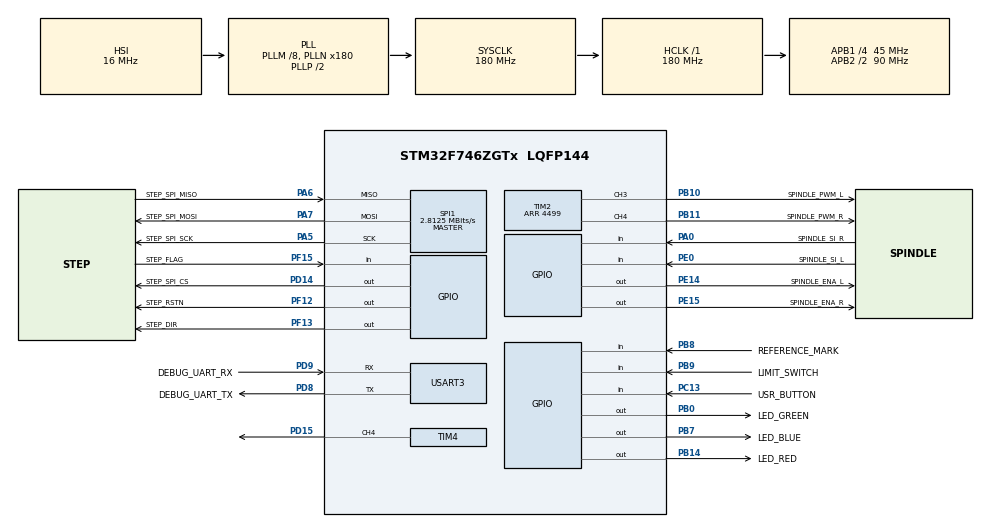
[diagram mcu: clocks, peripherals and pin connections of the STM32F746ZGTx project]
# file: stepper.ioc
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CORTEX_M7.AccessPermission_Spec=MPU_REGION_PRIV_RO_URO
CORTEX_M7.BaseAddress_S-Cortex_Memory_Protection_Unit_Region1_Settings_S=0x60000000
CORTEX_M7.DisableExec_S-Cortex_Memory_Protection_Unit_Region1_Settings_S=MPU_INSTRUCTION_ACCESS_DISABLE
CORTEX_M7.DisableExec_Spec=MPU_INSTRUCTION_ACCESS_ENABLE
CORTEX_M7.Enable_S-Cortex_Memory_Protection_Unit_Region1_Settings_S=MPU_REGION_ENABLE
CORTEX_M7.Enable_S-Cortex_Memory_Protection_Unit_Region2_Settings_S=__NULL
CORTEX_M7.IsShareable_S-Cortex_Memory_Protection_Unit_Region1_Settings_S=MPU_ACCESS_SHAREABLE
CORTEX_M7.IsShareable_Spec=MPU_ACCESS_NOT_SHAREABLE
CORTEX_M7.Size_S-Cortex_Memory_Protection_Unit_Region1_Settings_S=MPU_REGION_SIZE_4GB
CORTEX_M7.Size_Spec=MPU_REGION_SIZE_16KB
CORTEX_M7.SubRegionDisable_S-Cortex_Memory_Protection_Unit_Region1_Settings_S=0x87
CORTEX_M7.SubRegionDisable_Spec=0x0
CORTEX_M7.default_mode_Activation=1
Mcu.Family=STM32F7
Mcu.Name=STM32F746ZGTx
Mcu.Package=LQFP144
NVIC.PriorityGroup=NVIC_PRIORITYGROUP_4
NVIC.SPI1_IRQn=true\:5\:0\:true\:false\:true\:true\:true\:true
NVIC.TIM1_CC_IRQn=true\:0\:0\:false\:false\:true\:true\:true\:true
NVIC.TIM1_UP_TIM10_IRQn=true\:0\:0\:false\:false\:true\:true\:true\:true
PA0/WKUP.GPIO_Label=SPINDLE_SI_R
PA0/WKUP.Signal=GPIO_Input
PA5.GPIO_Label=STEP_SPI_SCK
PA5.Mode=Full_Duplex_Master
PA5.Signal=SPI1_SCK
PA6.GPIO_Label=STEP_SPI_MISO
PA6.Mode=Full_Duplex_Master
PA6.Signal=SPI1_MISO
PA7.GPIO_Label=STEP_SPI_MOSI
PA7.Mode=Full_Duplex_Master
PA7.Signal=SPI1_MOSI
PB0.GPIO_Label=LED_GREEN
PB0.Signal=GPIO_Output
PB10.GPIO_Label=SPINDLE_PWM_L
PB10.Signal=S_TIM2_CH3
PB11.GPIO_Label=SPINDLE_PWM_R
PB11.Signal=S_TIM2_CH4
PB14.GPIO_Label=LED_RED
PB14.Signal=GPIO_Output
PB7.GPIO_Label=LED_BLUE
PB7.Signal=GPIO_Output
PB8.GPIO_Label=REFERENCE_MARK
PB8.Signal=GPIO_Input
PB9.GPIO_Label=LIMIT_SWITCH
PB9.Signal=GPIO_Input
PC13.GPIO_Label=USR_BUTTON
PC13.Signal=GPIO_Input
PD14.GPIO_Label=STEP_SPI_CS
PD14.GPIO_Speed=GPIO_SPEED_FREQ_VERY_HIGH
PD14.PinState=GPIO_PIN_SET
PD14.Signal=GPIO_Output
PD15.Signal=S_TIM4_CH4
PD8.GPIO_Label=DEBUG_UART_TX
PD8.Mode=Asynchronous
PD8.Signal=USART3_TX
PD9.GPIO_Label=DEBUG_UART_RX
PD9.Mode=Asynchronous
PD9.Signal=USART3_RX
PE0.GPIO_Label=SPINDLE_SI_L
PE0.Signal=GPIO_Input
PE14.GPIO_Label=SPINDLE_ENA_L
PE14.Signal=GPIO_Output
PE15.GPIO_Label=SPINDLE_ENA_R
PE15.Signal=GPIO_Output
PF12.GPIO_Label=STEP_RSTN
PF12.Signal=GPIO_Output
PF13.GPIO_Label=STEP_DIR
PF13.GPIO_Speed=GPIO_SPEED_FREQ_VERY_HIGH
PF13.Signal=GPIO_Output
PF15.GPIO_Label=STEP_FLAG
PF15.GPIO_PuPd=GPIO_PULLUP
PF15.Signal=GPIO_Input
PH0/OSC_IN.Mode=HSE-External-Oscillator
PH0/OSC_IN.Signal=RCC_OSC_IN
PH1/OSC_OUT.Mode=HSE-External-Oscillator
PH1/OSC_OUT.Signal=RCC_OSC_OUT
ProjectManager.HeapSize=0x2000
ProjectManager.StackSize=0x800
ProjectManager.TargetToolchain=STM32CubeIDE
RCC.AHBFreq_Value=180000000
RCC.APB1CLKDivider=RCC_HCLK_DIV4
RCC.APB1Freq_Value=45000000
RCC.APB1TimFreq_Value=90000000
RCC.APB2CLKDivider=RCC_HCLK_DIV2
RCC.APB2Freq_Value=90000000
RCC.APB2TimFreq_Value=180000000
RCC.CortexFreq_Value=180000000
RCC.HCLKFreq_Value=180000000
RCC.HSE_VALUE=25000000
RCC.HSI_VALUE=16000000
RCC.LSE_VALUE=32768
RCC.PLLM=8
RCC.PLLN=180
RCC.SYSCLKFreq_VALUE=180000000
RCC.SYSCLKSource=RCC_SYSCLKSOURCE_PLLCLK
RCC.USBFreq_Value=180000000
RCC.VCOOutputFreq_Value=360000000
SH.S_TIM2_CH3.0=TIM2_CH3,PWM Generation3 CH3
SH.S_TIM2_CH4.0=TIM2_CH4,PWM Generation4 CH4
SH.S_TIM4_CH4.0=TIM4_CH4,PWM Generation4 CH4
SPI1.BaudRatePrescaler=SPI_BAUDRATEPRESCALER_32
SPI1.CLKPhase=SPI_PHASE_2EDGE
SPI1.CLKPolarity=SPI_POLARITY_HIGH
SPI1.CalculateBaudRate=2.8125 MBits/s
SPI1.DataSize=SPI_DATASIZE_8BIT
SPI1.Direction=SPI_DIRECTION_2LINES
SPI1.Mode=SPI_MODE_MASTER
SPI1.VirtualType=VM_MASTER
TIM1.Channel-Output\ Compare1\ No\ Output=TIM_CHANNEL_1
TIM1.Period=65535
TIM1.Prescaler=0
TIM1.TIM_MasterOutputTrigger=TIM_TRGO_ENABLE
TIM1.TIM_MasterOutputTrigger2=TIM_TRGO2_ENABLE
TIM2.Channel-PWM\ Generation3\ CH3=TIM_CHANNEL_3
TIM2.Channel-PWM\ Generation4\ CH4=TIM_CHANNEL_4
TIM2.Period=4499
TIM4.AutoReloadPreload=TIM_AUTORELOAD_PRELOAD_ENABLE
TIM4.Channel-PWM\ Generation4\ CH4=TIM_CHANNEL_4
TIM4.Period=3115
TIM4.Prescaler=1
TIM4.TIM_MasterOutputTrigger=TIM_TRGO_UPDATE
USART3.VirtualMode-Asynchronous=VM_ASYNC
VP_TIM1_VS_ClockSourceITR.Mode=TriggerSource_ITR3
VP_TIM1_VS_ControllerModeClock.Mode=Clock Mode
VP_TIM1_VS_OPM.Mode=OPM_bit
VP_TIM1_VS_no_output1.Mode=Output Compare1 No Output
VP_TIM2_VS_ClockSourceINT.Mode=Internal
VP_TIM4_VS_ClockSourceINT.Mode=Internal
VP_TIM4_VS_ClockSourceITR.Mode=TriggerSource_ITR0
VP_TIM4_VS_ControllerModeGated.Mode=Gated Mode
board=custom

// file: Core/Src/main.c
/* USER CODE BEGIN Header */
/**
  ******************************************************************************
  * @file           : main.c
  * @brief          : Main program body
  ******************************************************************************
  * @attention
  *
  * Copyright (c) 2024 STMicroelectronics.
  * All rights reserved.
  *
  * This software is licensed under terms that can be found in the LICENSE file
  * in the root directory of this software component.
  * If no LICENSE file comes with this software, it is provided AS-IS.
  *
  ******************************************************************************
  */
/* USER CODE END Header */
#include "main.h"

/* USER CODE BEGIN Includes */
#include "FreeRTOS.h"
#include "task.h"
#include "stdio.h"
/* USER CODE END Includes */

SPI_HandleTypeDef hspi1;

TIM_HandleTypeDef htim1;
TIM_HandleTypeDef htim2;
TIM_HandleTypeDef htim4;

UART_HandleTypeDef huart3;

void SystemClock_Config(void);
static void MPU_Config(void);
static void MX_GPIO_Init(void);
static void MX_SPI1_Init(void);
static void MX_USART3_UART_Init(void);
static void MX_TIM2_Init(void);
static void MX_TIM4_Init(void);
static void MX_TIM1_Init(void);
/* USER CODE BEGIN PFP */
extern void initialise_stdlib_abstraction( void );

void vApplicationMallocFailedHook( void )
{
  taskDISABLE_INTERRUPTS();
  __asm volatile( "bkpt #0" );
  for (;;) {;}
}
/*-----------------------------------------------------------*/

void vApplicationStackOverflowHook( TaskHandle_t pxTask, char *pcTaskName )
{
  ( void ) pcTaskName;
  ( void ) pxTask;

  taskDISABLE_INTERRUPTS();
  __asm volatile( "bkpt #0" );
  for (;;) {;}
}

/* USER CODE END PFP */

/* USER CODE BEGIN 0 */
// --------------------------------------------------------------------------------------------------------------------

//static int ConsoleWriteStream_ToStdErr(void* pContext, const char* pBuffer, int num)
//{
//	(void)pContext;
//	extern int _write( int file, char* ptr, int len );
//	return _write(2, pBuffer, num);
//}
/* USER CODE END 0 */

int main(void)
{

  /* MPU Configuration--------------------------------------------------------*/
  MPU_Config();

  /* MCU Configuration--------------------------------------------------------*/

  /* Reset of all peripherals, Initializes the Flash interface and the Systick. */
  HAL_Init();

  /* Configure the system clock */
  SystemClock_Config();

  /* Initialize all configured peripherals */
  MX_GPIO_Init();
  MX_SPI1_Init();
  MX_USART3_UART_Init();
  MX_TIM2_Init();
  MX_TIM4_Init();
  MX_TIM1_Init();
  /* USER CODE BEGIN 2 */

  init(htim2, &hspi1, &htim1, &htim4);

  vTaskStartScheduler();
  /* USER CODE END 2 */

  /* Infinite loop */
  while (1)
  {

  }
}

void SystemClock_Config(void)
{
  RCC_OscInitTypeDef RCC_OscInitStruct = {0};
  RCC_ClkInitTypeDef RCC_ClkInitStruct = {0};

  /** Configure the main internal regulator output voltage
  */
  __HAL_RCC_PWR_CLK_ENABLE();
  __HAL_PWR_VOLTAGESCALING_CONFIG(PWR_REGULATOR_VOLTAGE_SCALE1);

  /** Initializes the RCC Oscillators according to the specified parameters
  * in the RCC_OscInitTypeDef structure.
  */
  RCC_OscInitStruct.OscillatorType = RCC_OSCILLATORTYPE_HSI;
  RCC_OscInitStruct.HSIState = RCC_HSI_ON;
  RCC_OscInitStruct.HSICalibrationValue = RCC_HSICALIBRATION_DEFAULT;
  RCC_OscInitStruct.PLL.PLLState = RCC_PLL_ON;
  RCC_OscInitStruct.PLL.PLLSource = RCC_PLLSOURCE_HSI;
  RCC_OscInitStruct.PLL.PLLM = 8;
  RCC_OscInitStruct.PLL.PLLN = 180;
  RCC_OscInitStruct.PLL.PLLP = RCC_PLLP_DIV2;
  RCC_OscInitStruct.PLL.PLLQ = 2;
  if (HAL_RCC_OscConfig(&RCC_OscInitStruct) != HAL_OK)
  {
    Error_Handler();
  }

  /** Initializes the CPU, AHB and APB buses clocks
  */
  RCC_ClkInitStruct.ClockType = RCC_CLOCKTYPE_HCLK|RCC_CLOCKTYPE_SYSCLK
                              |RCC_CLOCKTYPE_PCLK1|RCC_CLOCKTYPE_PCLK2;
  RCC_ClkInitStruct.SYSCLKSource = RCC_SYSCLKSOURCE_PLLCLK;
  RCC_ClkInitStruct.AHBCLKDivider = RCC_SYSCLK_DIV1;
  RCC_ClkInitStruct.APB1CLKDivider = RCC_HCLK_DIV4;
  RCC_ClkInitStruct.APB2CLKDivider = RCC_HCLK_DIV2;

  if (HAL_RCC_ClockConfig(&RCC_ClkInitStruct, FLASH_LATENCY_5) != HAL_OK)
  {
    Error_Handler();
  }
}

static void MX_SPI1_Init(void)
{

  /* SPI1 parameter configuration*/
  hspi1.Instance = SPI1;
  hspi1.Init.Mode = SPI_MODE_MASTER;
  hspi1.Init.Direction = SPI_DIRECTION_2LINES;
  hspi1.Init.DataSize = SPI_DATASIZE_8BIT;
  hspi1.Init.CLKPolarity = SPI_POLARITY_HIGH;
  hspi1.Init.CLKPhase = SPI_PHASE_2EDGE;
  hspi1.Init.NSS = SPI_NSS_SOFT;
  hspi1.Init.BaudRatePrescaler = SPI_BAUDRATEPRESCALER_32;
  hspi1.Init.FirstBit = SPI_FIRSTBIT_MSB;
  hspi1.Init.TIMode = SPI_TIMODE_DISABLE;
  hspi1.Init.CRCCalculation = SPI_CRCCALCULATION_DISABLE;
  hspi1.Init.CRCPolynomial = 7;
  hspi1.Init.CRCLength = SPI_CRC_LENGTH_DATASIZE;
  hspi1.Init.NSSPMode = SPI_NSS_PULSE_DISABLE;
  if (HAL_SPI_Init(&hspi1) != HAL_OK)
  {
    Error_Handler();
  }

}

static void MX_TIM1_Init(void)
{

  TIM_SlaveConfigTypeDef sSlaveConfig = {0};
  TIM_MasterConfigTypeDef sMasterConfig = {0};
  TIM_OC_InitTypeDef sConfigOC = {0};
  TIM_BreakDeadTimeConfigTypeDef sBreakDeadTimeConfig = {0};

  htim1.Instance = TIM1;
  htim1.Init.Prescaler = 0;
  htim1.Init.CounterMode = TIM_COUNTERMODE_UP;
  htim1.Init.Period = 65535;
  htim1.Init.ClockDivision = TIM_CLOCKDIVISION_DIV1;
  htim1.Init.RepetitionCounter = 0;
  htim1.Init.AutoReloadPreload = TIM_AUTORELOAD_PRELOAD_DISABLE;
  if (HAL_TIM_Base_Init(&htim1) != HAL_OK)
  {
    Error_Handler();
  }
  if (HAL_TIM_OC_Init(&htim1) != HAL_OK)
  {
    Error_Handler();
  }
  if (HAL_TIM_OnePulse_Init(&htim1, TIM_OPMODE_SINGLE) != HAL_OK)
  {
    Error_Handler();
  }
  sSlaveConfig.SlaveMode = TIM_SLAVEMODE_EXTERNAL1;
  sSlaveConfig.InputTrigger = TIM_TS_ITR3;
  if (HAL_TIM_SlaveConfigSynchro(&htim1, &sSlaveConfig) != HAL_OK)
  {
    Error_Handler();
  }
  sMasterConfig.MasterOutputTrigger = TIM_TRGO_ENABLE;
  sMasterConfig.MasterOutputTrigger2 = TIM_TRGO2_ENABLE;
  sMasterConfig.MasterSlaveMode = TIM_MASTERSLAVEMODE_DISABLE;
  if (HAL_TIMEx_MasterConfigSynchronization(&htim1, &sMasterConfig) != HAL_OK)
  {
    Error_Handler();
  }
  sConfigOC.OCMode = TIM_OCMODE_TIMING;
  sConfigOC.Pulse = 0;
  sConfigOC.OCPolarity = TIM_OCPOLARITY_HIGH;
  sConfigOC.OCNPolarity = TIM_OCNPOLARITY_HIGH;
  sConfigOC.OCFastMode = TIM_OCFAST_DISABLE;
  sConfigOC.OCIdleState = TIM_OCIDLESTATE_RESET;
  sConfigOC.OCNIdleState = TIM_OCNIDLESTATE_RESET;
  if (HAL_TIM_OC_ConfigChannel(&htim1, &sConfigOC, TIM_CHANNEL_1) != HAL_OK)
  {
    Error_Handler();
  }
  sBreakDeadTimeConfig.OffStateRunMode = TIM_OSSR_DISABLE;
  sBreakDeadTimeConfig.OffStateIDLEMode = TIM_OSSI_DISABLE;
  sBreakDeadTimeConfig.LockLevel = TIM_LOCKLEVEL_OFF;
  sBreakDeadTimeConfig.DeadTime = 0;
  sBreakDeadTimeConfig.BreakState = TIM_BREAK_DISABLE;
  sBreakDeadTimeConfig.BreakPolarity = TIM_BREAKPOLARITY_HIGH;
  sBreakDeadTimeConfig.BreakFilter = 0;
  sBreakDeadTimeConfig.Break2State = TIM_BREAK2_DISABLE;
  sBreakDeadTimeConfig.Break2Polarity = TIM_BREAK2POLARITY_HIGH;
  sBreakDeadTimeConfig.Break2Filter = 0;
  sBreakDeadTimeConfig.AutomaticOutput = TIM_AUTOMATICOUTPUT_DISABLE;
  if (HAL_TIMEx_ConfigBreakDeadTime(&htim1, &sBreakDeadTimeConfig) != HAL_OK)
  {
    Error_Handler();
  }

}

static void MX_TIM2_Init(void)
{

  TIM_ClockConfigTypeDef sClockSourceConfig = {0};
  TIM_MasterConfigTypeDef sMasterConfig = {0};
  TIM_OC_InitTypeDef sConfigOC = {0};

  htim2.Instance = TIM2;
  htim2.Init.Prescaler = 0;
  htim2.Init.CounterMode = TIM_COUNTERMODE_UP;
  htim2.Init.Period = 4499;
  htim2.Init.ClockDivision = TIM_CLOCKDIVISION_DIV1;
  htim2.Init.AutoReloadPreload = TIM_AUTORELOAD_PRELOAD_DISABLE;
  if (HAL_TIM_Base_Init(&htim2) != HAL_OK)
  {
    Error_Handler();
  }
  sClockSourceConfig.ClockSource = TIM_CLOCKSOURCE_INTERNAL;
  if (HAL_TIM_ConfigClockSource(&htim2, &sClockSourceConfig) != HAL_OK)
  {
    Error_Handler();
  }
  if (HAL_TIM_PWM_Init(&htim2) != HAL_OK)
  {
    Error_Handler();
  }
  sMasterConfig.MasterOutputTrigger = TIM_TRGO_RESET;
  sMasterConfig.MasterSlaveMode = TIM_MASTERSLAVEMODE_DISABLE;
  if (HAL_TIMEx_MasterConfigSynchronization(&htim2, &sMasterConfig) != HAL_OK)
  {
    Error_Handler();
  }
  sConfigOC.OCMode = TIM_OCMODE_PWM1;
  sConfigOC.Pulse = 0;
  sConfigOC.OCPolarity = TIM_OCPOLARITY_HIGH;
  sConfigOC.OCFastMode = TIM_OCFAST_DISABLE;
  if (HAL_TIM_PWM_ConfigChannel(&htim2, &sConfigOC, TIM_CHANNEL_3) != HAL_OK)
  {
    Error_Handler();
  }
  if (HAL_TIM_PWM_ConfigChannel(&htim2, &sConfigOC, TIM_CHANNEL_4) != HAL_OK)
  {
    Error_Handler();
  }
  HAL_TIM_MspPostInit(&htim2);

}

static void MX_TIM4_Init(void)
{

  TIM_ClockConfigTypeDef sClockSourceConfig = {0};
  TIM_SlaveConfigTypeDef sSlaveConfig = {0};
  TIM_MasterConfigTypeDef sMasterConfig = {0};
  TIM_OC_InitTypeDef sConfigOC = {0};

  htim4.Instance = TIM4;
  htim4.Init.Prescaler = 1;
  htim4.Init.CounterMode = TIM_COUNTERMODE_UP;
  htim4.Init.Period = 3115;
  htim4.Init.ClockDivision = TIM_CLOCKDIVISION_DIV1;
  htim4.Init.AutoReloadPreload = TIM_AUTORELOAD_PRELOAD_ENABLE;
  if (HAL_TIM_Base_Init(&htim4) != HAL_OK)
  {
    Error_Handler();
  }
  sClockSourceConfig.ClockSource = TIM_CLOCKSOURCE_INTERNAL;
  if (HAL_TIM_ConfigClockSource(&htim4, &sClockSourceConfig) != HAL_OK)
  {
    Error_Handler();
  }
  if (HAL_TIM_PWM_Init(&htim4) != HAL_OK)
  {
    Error_Handler();
  }
  sSlaveConfig.SlaveMode = TIM_SLAVEMODE_GATED;
  sSlaveConfig.InputTrigger = TIM_TS_ITR0;
  if (HAL_TIM_SlaveConfigSynchro(&htim4, &sSlaveConfig) != HAL_OK)
  {
    Error_Handler();
  }
  sMasterConfig.MasterOutputTrigger = TIM_TRGO_UPDATE;
  sMasterConfig.MasterSlaveMode = TIM_MASTERSLAVEMODE_DISABLE;
  if (HAL_TIMEx_MasterConfigSynchronization(&htim4, &sMasterConfig) != HAL_OK)
  {
    Error_Handler();
  }
  sConfigOC.OCMode = TIM_OCMODE_PWM1;
  sConfigOC.Pulse = 0;
  sConfigOC.OCPolarity = TIM_OCPOLARITY_HIGH;
  sConfigOC.OCFastMode = TIM_OCFAST_DISABLE;
  if (HAL_TIM_PWM_ConfigChannel(&htim4, &sConfigOC, TIM_CHANNEL_4) != HAL_OK)
  {
    Error_Handler();
  }
  HAL_TIM_MspPostInit(&htim4);

}

static void MX_USART3_UART_Init(void)
{

  huart3.Instance = USART3;
  huart3.Init.BaudRate = 115200;
  huart3.Init.WordLength = UART_WORDLENGTH_8B;
  huart3.Init.StopBits = UART_STOPBITS_1;
  huart3.Init.Parity = UART_PARITY_NONE;
  huart3.Init.Mode = UART_MODE_TX_RX;
  huart3.Init.HwFlowCtl = UART_HWCONTROL_NONE;
  huart3.Init.OverSampling = UART_OVERSAMPLING_16;
  huart3.Init.OneBitSampling = UART_ONE_BIT_SAMPLE_DISABLE;
  huart3.AdvancedInit.AdvFeatureInit = UART_ADVFEATURE_NO_INIT;
  if (HAL_UART_Init(&huart3) != HAL_OK)
  {
    Error_Handler();
  }

}

static void MX_GPIO_Init(void)
{
  GPIO_InitTypeDef GPIO_InitStruct = {0};

  /* GPIO Ports Clock Enable */
  __HAL_RCC_GPIOC_CLK_ENABLE();
  __HAL_RCC_GPIOH_CLK_ENABLE();
  __HAL_RCC_GPIOA_CLK_ENABLE();
  __HAL_RCC_GPIOB_CLK_ENABLE();
  __HAL_RCC_GPIOF_CLK_ENABLE();
  __HAL_RCC_GPIOE_CLK_ENABLE();
  __HAL_RCC_GPIOD_CLK_ENABLE();

  /*Configure GPIO pin Output Level */
  HAL_GPIO_WritePin(GPIOB, LED_GREEN_Pin|LED_RED_Pin|LED_BLUE_Pin, GPIO_PIN_RESET);

  /*Configure GPIO pin Output Level */
  HAL_GPIO_WritePin(GPIOF, STEP_RSTN_Pin|STEP_DIR_Pin, GPIO_PIN_RESET);

  /*Configure GPIO pin Output Level */
  HAL_GPIO_WritePin(GPIOE, SPINDLE_ENA_L_Pin|SPINDLE_ENA_R_Pin, GPIO_PIN_RESET);

  /*Configure GPIO pin Output Level */
  HAL_GPIO_WritePin(STEP_SPI_CS_GPIO_Port, STEP_SPI_CS_Pin, GPIO_PIN_SET);

  /*Configure GPIO pin : USR_BUTTON_Pin */
  GPIO_InitStruct.Pin = USR_BUTTON_Pin;
  GPIO_InitStruct.Mode = GPIO_MODE_INPUT;
  GPIO_InitStruct.Pull = GPIO_NOPULL;
  HAL_GPIO_Init(USR_BUTTON_GPIO_Port, &GPIO_InitStruct);

  /*Configure GPIO pin : SPINDLE_SI_R_Pin */
  GPIO_InitStruct.Pin = SPINDLE_SI_R_Pin;
  GPIO_InitStruct.Mode = GPIO_MODE_INPUT;
  GPIO_InitStruct.Pull = GPIO_NOPULL;
  HAL_GPIO_Init(SPINDLE_SI_R_GPIO_Port, &GPIO_InitStruct);

  /*Configure GPIO pins : LED_GREEN_Pin LED_RED_Pin LED_BLUE_Pin */
  GPIO_InitStruct.Pin = LED_GREEN_Pin|LED_RED_Pin|LED_BLUE_Pin;
  GPIO_InitStruct.Mode = GPIO_MODE_OUTPUT_PP;
  GPIO_InitStruct.Pull = GPIO_NOPULL;
  GPIO_InitStruct.Speed = GPIO_SPEED_FREQ_LOW;
  HAL_GPIO_Init(GPIOB, &GPIO_InitStruct);

  /*Configure GPIO pin : STEP_RSTN_Pin */
  GPIO_InitStruct.Pin = STEP_RSTN_Pin;
  GPIO_InitStruct.Mode = GPIO_MODE_OUTPUT_PP;
  GPIO_InitStruct.Pull = GPIO_NOPULL;
  GPIO_InitStruct.Speed = GPIO_SPEED_FREQ_LOW;
  HAL_GPIO_Init(STEP_RSTN_GPIO_Port, &GPIO_InitStruct);

  /*Configure GPIO pin : STEP_DIR_Pin */
  GPIO_InitStruct.Pin = STEP_DIR_Pin;
  GPIO_InitStruct.Mode = GPIO_MODE_OUTPUT_PP;
  GPIO_InitStruct.Pull = GPIO_NOPULL;
  GPIO_InitStruct.Speed = GPIO_SPEED_FREQ_VERY_HIGH;
  HAL_GPIO_Init(STEP_DIR_GPIO_Port, &GPIO_InitStruct);

  /*Configure GPIO pin : STEP_FLAG_Pin */
  GPIO_InitStruct.Pin = STEP_FLAG_Pin;
  GPIO_InitStruct.Mode = GPIO_MODE_INPUT;
  GPIO_InitStruct.Pull = GPIO_PULLUP;
  HAL_GPIO_Init(STEP_FLAG_GPIO_Port, &GPIO_InitStruct);

  /*Configure GPIO pins : SPINDLE_ENA_L_Pin SPINDLE_ENA_R_Pin */
  GPIO_InitStruct.Pin = SPINDLE_ENA_L_Pin|SPINDLE_ENA_R_Pin;
  GPIO_InitStruct.Mode = GPIO_MODE_OUTPUT_PP;
  GPIO_InitStruct.Pull = GPIO_NOPULL;
  GPIO_InitStruct.Speed = GPIO_SPEED_FREQ_LOW;
  HAL_GPIO_Init(GPIOE, &GPIO_InitStruct);

  /*Configure GPIO pin : STEP_SPI_CS_Pin */
  GPIO_InitStruct.Pin = STEP_SPI_CS_Pin;
  GPIO_InitStruct.Mode = GPIO_MODE_OUTPUT_PP;
  GPIO_InitStruct.Pull = GPIO_NOPULL;
  GPIO_InitStruct.Speed = GPIO_SPEED_FREQ_VERY_HIGH;
  HAL_GPIO_Init(STEP_SPI_CS_GPIO_Port, &GPIO_InitStruct);

  /*Configure GPIO pins : REFERENCE_MARK_Pin LIMIT_SWITCH_Pin */
  GPIO_InitStruct.Pin = REFERENCE_MARK_Pin|LIMIT_SWITCH_Pin;
  GPIO_InitStruct.Mode = GPIO_MODE_INPUT;
  GPIO_InitStruct.Pull = GPIO_NOPULL;
  HAL_GPIO_Init(GPIOB, &GPIO_InitStruct);

  /*Configure GPIO pin : SPINDLE_SI_L_Pin */
  GPIO_InitStruct.Pin = SPINDLE_SI_L_Pin;
  GPIO_InitStruct.Mode = GPIO_MODE_INPUT;
  GPIO_InitStruct.Pull = GPIO_NOPULL;
  HAL_GPIO_Init(SPINDLE_SI_L_GPIO_Port, &GPIO_InitStruct);

}

/* USER CODE BEGIN 4 */
void vAssertCalled( const char * const pcFileName, unsigned long ulLine )
{
volatile uint32_t ulSetToNonZeroInDebuggerToContinue = 0;

    /* Parameters are not used. */
    ( void ) ulLine;
    ( void ) pcFileName;

    taskENTER_CRITICAL();
    {
        /* You can step out of this function to debug the assertion by using
        the debugger to set ulSetToNonZeroInDebuggerToContinue to a non-zero
        value. */
        while( ulSetToNonZeroInDebuggerToContinue == 0 )
        {
        }
    }
    taskEXIT_CRITICAL();
}

int __stdout_put_char(int ch)
{
	uint8_t val = ch;
	while((huart3.Instance->ISR & UART_FLAG_TXE) == 0);
	huart3.Instance->TDR = val;
	while((huart3.Instance->ISR & UART_FLAG_TC) == 0);
	return 0;
}

int __stdin_get_char(void)
{
	if (huart3.Instance->ISR & UART_FLAG_ORE)
		huart3.Instance->ICR = UART_CLEAR_OREF;

	if (huart3.Instance->ISR & UART_FLAG_NE)
		huart3.Instance->ICR = UART_CLEAR_NEF;

	if (huart3.Instance->ISR & UART_FLAG_FE)
		huart3.Instance->ICR = UART_CLEAR_FEF;

	if ((huart3.Instance->ISR & UART_FLAG_RXNE) == 0) return -1;
	return huart3.Instance->RDR;
}
/* USER CODE END 4 */

 /* MPU Configuration */

void MPU_Config(void)
{
  MPU_Region_InitTypeDef MPU_InitStruct = {0};

  /* Disables the MPU */
  HAL_MPU_Disable();

  /** Initializes and configures the Region and the memory to be protected
  */
  MPU_InitStruct.Enable = MPU_REGION_ENABLE;
  MPU_InitStruct.Number = MPU_REGION_NUMBER0;
  MPU_InitStruct.BaseAddress = 0x0;
  MPU_InitStruct.Size = MPU_REGION_SIZE_16KB;
  MPU_InitStruct.SubRegionDisable = 0x0;
  MPU_InitStruct.TypeExtField = MPU_TEX_LEVEL0;
  MPU_InitStruct.AccessPermission = MPU_REGION_PRIV_RO_URO;
  MPU_InitStruct.DisableExec = MPU_INSTRUCTION_ACCESS_ENABLE;
  MPU_InitStruct.IsShareable = MPU_ACCESS_NOT_SHAREABLE;
  MPU_InitStruct.IsCacheable = MPU_ACCESS_NOT_CACHEABLE;
  MPU_InitStruct.IsBufferable = MPU_ACCESS_NOT_BUFFERABLE;

  HAL_MPU_ConfigRegion(&MPU_InitStruct);

  /** Initializes and configures the Region and the memory to be protected
  */
  MPU_InitStruct.Number = MPU_REGION_NUMBER1;
  MPU_InitStruct.BaseAddress = 0x60000000;
  MPU_InitStruct.Size = MPU_REGION_SIZE_4GB;
  MPU_InitStruct.SubRegionDisable = 0x87;
  MPU_InitStruct.AccessPermission = MPU_REGION_NO_ACCESS;
  MPU_InitStruct.DisableExec = MPU_INSTRUCTION_ACCESS_DISABLE;
  MPU_InitStruct.IsShareable = MPU_ACCESS_SHAREABLE;

  HAL_MPU_ConfigRegion(&MPU_InitStruct);
  /* Enables the MPU */
  HAL_MPU_Enable(MPU_PRIVILEGED_DEFAULT);

}

void Error_Handler(void)
{
  __disable_irq();
  while (1)
  {
  }
}

#ifdef  USE_FULL_ASSERT
/**
  * @brief  Reports the name of the source file and the source line number
  *         where the assert_param error has occurred.
  * @param  file: pointer to the source file name
  * @param  line: assert_param error line source number
  * @retval None
  */
void assert_failed(uint8_t *file, uint32_t line)
{
  /* USER CODE BEGIN 6 */
	portENTER_CRITICAL();

	printf("HAL_ASSERT: %s:::%u\r\n", (char*)file, (unsigned int)line);
	assert(0);

	portEXIT_CRITICAL();
  /* USER CODE END 6 */
}
#endif /* USE_FULL_ASSERT */
